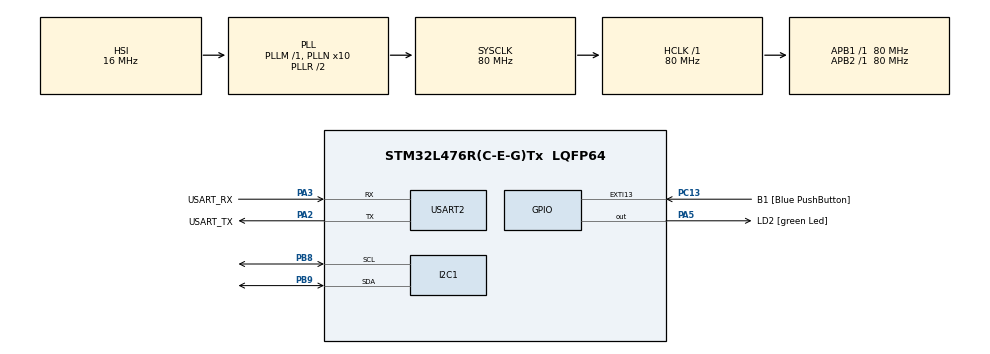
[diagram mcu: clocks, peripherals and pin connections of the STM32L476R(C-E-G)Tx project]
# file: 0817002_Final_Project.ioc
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I2C1.Timing=0x10909CEC
Mcu.Family=STM32L4
Mcu.Name=STM32L476R(C-E-G)Tx
Mcu.Package=LQFP64
NVIC.PriorityGroup=NVIC_PRIORITYGROUP_4
NVIC.USART2_IRQn=true\:0\:0\:false\:false\:true\:true\:true\:true
PA13\ (JTMS-SWDIO).GPIO_Label=TMS
PA13\ (JTMS-SWDIO).Mode=Serial_Wire
PA13\ (JTMS-SWDIO).Signal=SYS_JTMS-SWDIO
PA14\ (JTCK-SWCLK).GPIO_Label=TCK
PA14\ (JTCK-SWCLK).Mode=Serial_Wire
PA14\ (JTCK-SWCLK).Signal=SYS_JTCK-SWCLK
PA2.GPIO_Label=USART_TX
PA2.GPIO_Mode=GPIO_MODE_AF_PP
PA2.GPIO_PuPd=GPIO_NOPULL
PA2.GPIO_Speed=GPIO_SPEED_FREQ_VERY_HIGH
PA2.Mode=Asynchronous
PA2.Signal=USART2_TX
PA3.GPIO_Label=USART_RX
PA3.GPIO_Mode=GPIO_MODE_AF_PP
PA3.GPIO_PuPd=GPIO_NOPULL
PA3.GPIO_Speed=GPIO_SPEED_FREQ_VERY_HIGH
PA3.Mode=Asynchronous
PA3.Signal=USART2_RX
PA5.GPIO_Label=LD2 [green Led]
PA5.GPIO_ModeDefaultOutputPP=GPIO_MODE_OUTPUT_PP
PA5.GPIO_PuPd=GPIO_NOPULL
PA5.GPIO_Speed=GPIO_SPEED_FREQ_LOW
PA5.Signal=GPIO_Output
PB3\ (JTDO-TRACESWO).GPIO_Label=SWO
PB3\ (JTDO-TRACESWO).Signal=SYS_JTDO-SWO
PB8.Mode=I2C
PB8.Signal=I2C1_SCL
PB9.Mode=I2C
PB9.Signal=I2C1_SDA
PC13.GPIO_Label=B1 [Blue PushButton]
PC13.GPIO_ModeDefaultEXTI=GPIO_MODE_IT_FALLING
PC13.GPIO_PuPd=GPIO_NOPULL
PC13.Signal=GPXTI13
PC14-OSC32_IN\ (PC14).Mode=LSE-External-Oscillator
PC14-OSC32_IN\ (PC14).Signal=RCC_OSC32_IN
PC15-OSC32_OUT\ (PC15).Mode=LSE-External-Oscillator
PC15-OSC32_OUT\ (PC15).Signal=RCC_OSC32_OUT
PH0-OSC_IN\ (PH0).Signal=RCC_OSC_IN
PH1-OSC_OUT\ (PH1).Signal=RCC_OSC_OUT
ProjectManager.HeapSize=0x200
ProjectManager.StackSize=0x400
ProjectManager.TargetToolchain=STM32CubeIDE
RCC.ADCFreq_Value=64000000
RCC.AHBFreq_Value=80000000
RCC.APB1Freq_Value=80000000
RCC.APB1TimFreq_Value=80000000
RCC.APB2Freq_Value=80000000
RCC.APB2TimFreq_Value=80000000
RCC.CortexFreq_Value=80000000
RCC.HCLKFreq_Value=80000000
RCC.HSE_VALUE=8000000
RCC.HSI_VALUE=16000000
RCC.MSI_VALUE=4000000
RCC.PLLN=10
RCC.PLLSourceVirtual=RCC_PLLSOURCE_HSI
RCC.PREFETCH_ENABLE=1
RCC.SYSCLKFreq_VALUE=80000000
RCC.SYSCLKSource=RCC_SYSCLKSOURCE_PLLCLK
RCC.USBFreq_Value=64000000
RCC.VCOOutputFreq_Value=160000000
USART2.VirtualMode-Asynchronous=VM_ASYNC
board=NUCLEO-L476RG

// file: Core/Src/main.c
/* USER CODE BEGIN Header */
/**
  ******************************************************************************
  * @file           : main.c
  * @brief          : Main program body
  ******************************************************************************
  * @attention
  *
  * Copyright (c) 2023 STMicroelectronics.
  * All rights reserved.
  *
  * This software is licensed under terms that can be found in the LICENSE file
  * in the root directory of this software component.
  * If no LICENSE file comes with this software, it is provided AS-IS.
  *
  ******************************************************************************
  */
/* USER CODE END Header */
#include "main.h"

/* USER CODE BEGIN Includes */
#include <stdio.h>
#include <string.h>

#include "ring_buffer.h"

#include "ssd1306.h"
#include "ssd1306_fonts.h"
/* USER CODE END Includes */

I2C_HandleTypeDef hi2c1;

UART_HandleTypeDef huart2;

/* USER CODE BEGIN PV */

ring_buffer_t ring_buffer_uart_rx; 	// control vars for the ring buffer
uint8_t rx_buffer_usart[8]; 			// memory for ring buffer

uint8_t rx_data;

/* USER CODE END PV */

void SystemClock_Config(void);
static void MX_GPIO_Init(void);
static void MX_USART2_UART_Init(void);
static void MX_I2C1_Init(void);

/* USER CODE BEGIN 0 */
int _write(int file, char *ptr, int len)
{
  HAL_UART_Transmit(&huart2, (uint8_t *)ptr, len, HAL_MAX_DELAY);
  return len;
}

/**
  * @brief  Rx Transfer completed callback.
  * @param  huart UART handle.
  * @retval None
  */
void HAL_UART_RxCpltCallback(UART_HandleTypeDef *huart)
{
	if (ring_buffer_put(&ring_buffer_uart_rx, rx_data) == 0) {
		printf("Rx buffer is full\r\n");
	}
	HAL_UART_Receive_IT(&huart2, &rx_data, 1);
}

void validate_sequence(void)
{
	uint8_t student_code[8] = "0817002";
	uint8_t sequence[8];
	for (uint8_t idx = 0; idx < 8; idx++)
	{
	  ring_buffer_get(&ring_buffer_uart_rx, &sequence[idx]);
	}
	char *result_log;
	if (memcmp(student_code, sequence, 5) == 0) {
//	  ssd1306_SetCursor(20, 20);
//	  ssd1306_WriteString("Pass", Font_16x26, White);
	  result_log = "Pass";
	} else {
//	  ssd1306_SetCursor(20, 20);
//	  ssd1306_WriteString("Fail", Font_16x26, White);
	  result_log = "Fail";
	}
	printf("Sequence result: %s\r\n", result_log);

	ssd1306_SetCursor(20, 20);
	ssd1306_WriteString(result_log, Font_11x18, White);
	ssd1306_UpdateScreen();
}
/* USER CODE END 0 */

int main(void)
{

  /* MCU Configuration--------------------------------------------------------*/

  /* Reset of all peripherals, Initializes the Flash interface and the Systick. */
  HAL_Init();

  /* Configure the system clock */
  SystemClock_Config();

  /* Initialize all configured peripherals */
  MX_GPIO_Init();
  MX_USART2_UART_Init();
  MX_I2C1_Init();
  /* USER CODE BEGIN 2 */
  ring_buffer_init(&ring_buffer_uart_rx, rx_buffer_usart, 8);

  HAL_UART_Receive_IT(&huart2, &rx_data, 1);

  ssd1306_Init();
  ssd1306_Fill(Black);
  ssd1306_SetCursor(20, 20);
  ssd1306_WriteString("Waiting", Font_11x18, White);
  ssd1306_UpdateScreen();
  /* USER CODE END 2 */

  /* Infinite loop */
  while (1)
  {

  }
}

void SystemClock_Config(void)
{
  RCC_OscInitTypeDef RCC_OscInitStruct = {0};
  RCC_ClkInitTypeDef RCC_ClkInitStruct = {0};

  /** Configure the main internal regulator output voltage
  */
  if (HAL_PWREx_ControlVoltageScaling(PWR_REGULATOR_VOLTAGE_SCALE1) != HAL_OK)
  {
    Error_Handler();
  }

  /** Initializes the RCC Oscillators according to the specified parameters
  * in the RCC_OscInitTypeDef structure.
  */
  RCC_OscInitStruct.OscillatorType = RCC_OSCILLATORTYPE_HSI;
  RCC_OscInitStruct.HSIState = RCC_HSI_ON;
  RCC_OscInitStruct.HSICalibrationValue = RCC_HSICALIBRATION_DEFAULT;
  RCC_OscInitStruct.PLL.PLLState = RCC_PLL_ON;
  RCC_OscInitStruct.PLL.PLLSource = RCC_PLLSOURCE_HSI;
  RCC_OscInitStruct.PLL.PLLM = 1;
  RCC_OscInitStruct.PLL.PLLN = 10;
  RCC_OscInitStruct.PLL.PLLP = RCC_PLLP_DIV7;
  RCC_OscInitStruct.PLL.PLLQ = RCC_PLLQ_DIV2;
  RCC_OscInitStruct.PLL.PLLR = RCC_PLLR_DIV2;
  if (HAL_RCC_OscConfig(&RCC_OscInitStruct) != HAL_OK)
  {
    Error_Handler();
  }

  /** Initializes the CPU, AHB and APB buses clocks
  */
  RCC_ClkInitStruct.ClockType = RCC_CLOCKTYPE_HCLK|RCC_CLOCKTYPE_SYSCLK
                              |RCC_CLOCKTYPE_PCLK1|RCC_CLOCKTYPE_PCLK2;
  RCC_ClkInitStruct.SYSCLKSource = RCC_SYSCLKSOURCE_PLLCLK;
  RCC_ClkInitStruct.AHBCLKDivider = RCC_SYSCLK_DIV1;
  RCC_ClkInitStruct.APB1CLKDivider = RCC_HCLK_DIV1;
  RCC_ClkInitStruct.APB2CLKDivider = RCC_HCLK_DIV1;

  if (HAL_RCC_ClockConfig(&RCC_ClkInitStruct, FLASH_LATENCY_4) != HAL_OK)
  {
    Error_Handler();
  }
}

static void MX_I2C1_Init(void)
{

  hi2c1.Instance = I2C1;
  hi2c1.Init.Timing = 0x10909CEC;
  hi2c1.Init.OwnAddress1 = 0;
  hi2c1.Init.AddressingMode = I2C_ADDRESSINGMODE_7BIT;
  hi2c1.Init.DualAddressMode = I2C_DUALADDRESS_DISABLE;
  hi2c1.Init.OwnAddress2 = 0;
  hi2c1.Init.OwnAddress2Masks = I2C_OA2_NOMASK;
  hi2c1.Init.GeneralCallMode = I2C_GENERALCALL_DISABLE;
  hi2c1.Init.NoStretchMode = I2C_NOSTRETCH_DISABLE;
  if (HAL_I2C_Init(&hi2c1) != HAL_OK)
  {
    Error_Handler();
  }

  /** Configure Analogue filter
  */
  if (HAL_I2CEx_ConfigAnalogFilter(&hi2c1, I2C_ANALOGFILTER_ENABLE) != HAL_OK)
  {
    Error_Handler();
  }

  /** Configure Digital filter
  */
  if (HAL_I2CEx_ConfigDigitalFilter(&hi2c1, 0) != HAL_OK)
  {
    Error_Handler();
  }

}

static void MX_USART2_UART_Init(void)
{

  huart2.Instance = USART2;
  huart2.Init.BaudRate = 115200;
  huart2.Init.WordLength = UART_WORDLENGTH_8B;
  huart2.Init.StopBits = UART_STOPBITS_1;
  huart2.Init.Parity = UART_PARITY_NONE;
  huart2.Init.Mode = UART_MODE_TX_RX;
  huart2.Init.HwFlowCtl = UART_HWCONTROL_NONE;
  huart2.Init.OverSampling = UART_OVERSAMPLING_16;
  huart2.Init.OneBitSampling = UART_ONE_BIT_SAMPLE_DISABLE;
  huart2.AdvancedInit.AdvFeatureInit = UART_ADVFEATURE_NO_INIT;
  if (HAL_UART_Init(&huart2) != HAL_OK)
  {
    Error_Handler();
  }

}

static void MX_GPIO_Init(void)
{
  GPIO_InitTypeDef GPIO_InitStruct = {0};

  /* GPIO Ports Clock Enable */
  __HAL_RCC_GPIOC_CLK_ENABLE();
  __HAL_RCC_GPIOH_CLK_ENABLE();
  __HAL_RCC_GPIOA_CLK_ENABLE();
  __HAL_RCC_GPIOB_CLK_ENABLE();

  /*Configure GPIO pin Output Level */
  HAL_GPIO_WritePin(LD2_GPIO_Port, LD2_Pin, GPIO_PIN_RESET);

  /*Configure GPIO pin : B1_Pin */
  GPIO_InitStruct.Pin = B1_Pin;
  GPIO_InitStruct.Mode = GPIO_MODE_IT_FALLING;
  GPIO_InitStruct.Pull = GPIO_NOPULL;
  HAL_GPIO_Init(B1_GPIO_Port, &GPIO_InitStruct);

  /*Configure GPIO pin : LD2_Pin */
  GPIO_InitStruct.Pin = LD2_Pin;
  GPIO_InitStruct.Mode = GPIO_MODE_OUTPUT_PP;
  GPIO_InitStruct.Pull = GPIO_NOPULL;
  GPIO_InitStruct.Speed = GPIO_SPEED_FREQ_LOW;
  HAL_GPIO_Init(LD2_GPIO_Port, &GPIO_InitStruct);

}

void Error_Handler(void)
{
  __disable_irq();
  while (1)
  {
  }
}
